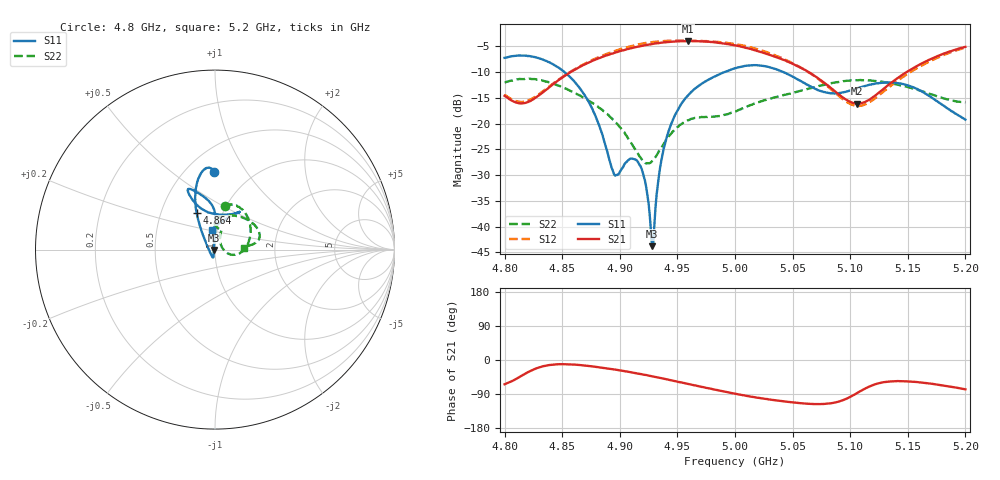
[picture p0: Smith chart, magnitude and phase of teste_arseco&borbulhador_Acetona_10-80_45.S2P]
! Network Analyzer HP8722D
! Hewlett-Packard
! Data name: Linha & Wilkinson
! Saver's name: Rodrigo Anjos
! Comments: Teste da utilização de aquisição
! continua pelo VNA HP8722D
! Time and date: 25/4/2025 15:38
!  Frequency  S11  S21  S12  S22
# HZ  S  MA R 50
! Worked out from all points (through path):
!   401 points, 4.8 GHz to 5.2 GHz, reference 50 ohm
!   highest |S21| = -3.95 dB at 4.959 GHz (marker M1); lowest = -16.1 dB at 5.106 GHz (marker M2)
!   lowest |S11| = -43.8 dB at 4.928 GHz (marker M3), VSWR 1.01, Z = 49.4 - j0.19 ohm
!   |S11| at or under -10 dB: 4.852 GHz to 4.991 GHz (139 MHz wide, 2.83 % of centre); 5.042 GHz to end of sweep
!   |S22| runs from -27.7 to -11.3 dB; largest |S21 - S12| = 1.2
!   S11 on the Smith chart (normalised r, x): 4.8 GHz: 0.68, +0.73; 4.864 GHz: 0.75, +0.33; 5.2 GHz: 0.94, +0.21
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4.8e9  0.4347 90.6  0.1861 -64.0  0.1914 69.5  0.2494 77.3
4.82e9  0.4527 96.8  0.1616 -32.5  0.1673 98.4  0.2715 61.6
4.843e9  0.371 106.2  0.2453 -12.0  0.2493 118.8  0.2424 36.9
4.864e9  0.2306 116.3  0.3492 -12.9  0.3528 121.0  0.1904 12.1
4.867e9  0.2079 118.0  0.364 -13.9  0.3681 120.7  0.1824 8.6
4.88e9  0.1102 128.5  0.4229 -18.5  0.4327 118.3  0.1483 -5.4
4.895e9  0.03228 -172.3  0.4852 -24.9  0.5028 113.7  0.1074 -15.8
4.909e9  0.04564 -106.4  0.5372 -32.0  0.5616 107.7  0.06674 -14.6
4.917e9  0.04005 -101.7  0.5611 -36.5  0.5903 103.5  0.0483 -2.1
4.923e9  0.02394 -107.5  0.5789 -39.7  0.6076 100.1  0.04103 19.4
4.928e9  0.006475 -162.7  0.5922 -43.1  0.6184 97.0  0.04321 40.6
4.93e9  0.0102 125.0  0.5964 -44.3  0.6208 95.9  0.04609 48.1
4.934e9  0.03154 98.6  0.6041 -46.8  0.6296 93.2  0.0542 58.2
4.944e9  0.09539 90.2  0.622 -53.3  0.6376 86.7  0.07861 69.7
4.959e9  0.1872 89.3  0.6342 -62.9  0.6395 77.5  0.1077 72.0
5e9  0.3449 109.0  0.5747 -89.0  0.5933 50.8  0.1314 88.7
5.03e9  0.3526 115.1  0.4638 -104.3  0.4821 33.8  0.1739 85.5
5.067e9  0.225 104.9  0.3015 -115.9  0.299 23.7  0.2224 57.1
5.106e9  0.2194 64.2  0.1562 -87.2  0.1485 55.8  0.2634 24.8
5.134e9  0.2505 56.9  0.2414 -56.8  0.2265 88.6  0.2481 12.5
5.169e9  0.1846 69.5  0.4185 -62.1  0.4023 84.8  0.1945 6.8
5.2e9  0.1095 100.1  0.5554 -77.5  0.5459 70.1  0.1607 3.8
